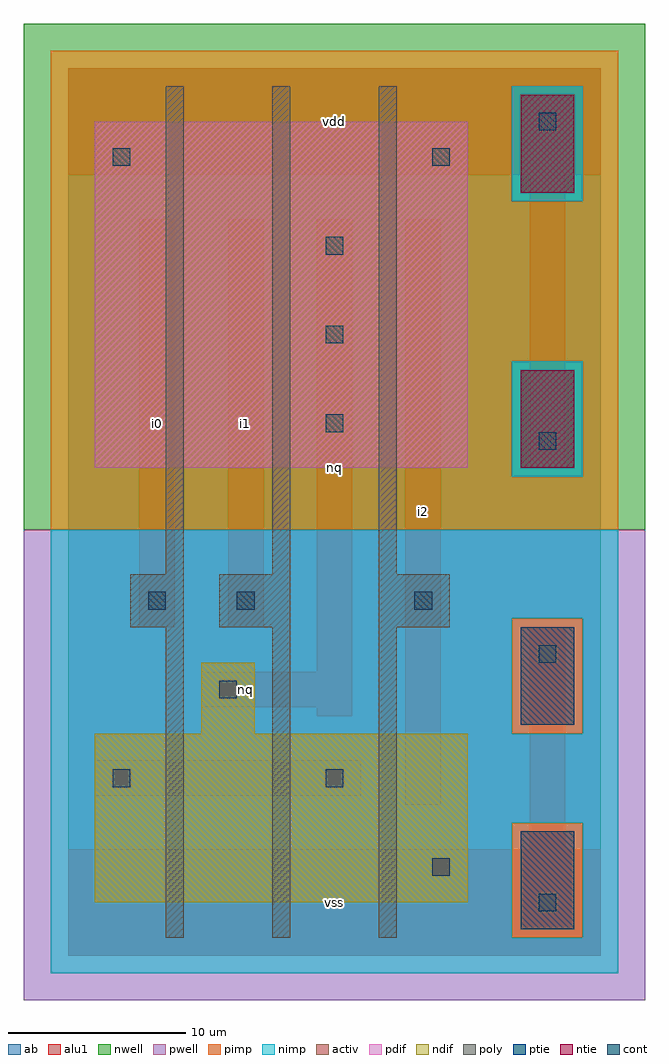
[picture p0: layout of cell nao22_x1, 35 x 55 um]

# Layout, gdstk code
import gdstk
lib = gdstk.Library(unit=1e-6, precision=1e-09)
def R(c, l, rs):  # rectangles x0, y0, x1, y1
    for r in rs: c.add(gdstk.rectangle(r[:2], r[2:], *l))
def A(c, l, x, y, w, h, nx, ny, dx, dy):  # array of equal rectangles
    R(c, l, [(x+i*dx, y+j*dy, x+i*dx+w, y+j*dy+h) for i in range(nx) for j in range(ny)])
ndif = (3, 0)
pdif = (4, 0)
ntie = (5, 0)
ptie = (6, 0)
cont = (25, 0)
pwell = (41, 0)
nwell = (42, 0)
activ = (43, 0)
pimp = (44, 0)
nimp = (45, 0)
poly = (46, 0)
alu1 = (49, 0)
ab = (63, 0)

nao22_x1 = lib.new_cell('nao22_x1')
R(nao22_x1, ndif, [(1.5,3,22.5,12.5), (7.5,12.5,10.5,16.5)])
R(nao22_x1, pdif, [(1.5,27.5,22.5,47)])
R(nao22_x1, ntie, [(25.5,27.5,28.5,33), (25.5,43,28.5,48.5)])
R(nao22_x1, ptie, [(25.5,1.5,28.5,7), (25.5,13,28.5,18.5)])
A(nao22_x1, cont, 14.5, 29.5, 1, 1, 1, 3, 0, 5)
R(nao22_x1, cont, [(26.5,2.5,27.5,3.5), (20.5,4.5,21.5,5.5), (2.5,9.5,3.5,10.5), (14.5,9.5,15.5,10.5), (8.5,14.5,9.5,15.5), (26.5,16.5,27.5,17.5), (4.5,19.5,5.5,20.5), (9.5,19.5,10.5,20.5), (19.5,19.5,20.5,20.5), (26.5,28.5,27.5,29.5), (2.5,44.5,3.5,45.5), (20.5,44.5,21.5,45.5), (26.5,46.5,27.5,47.5)])
R(nao22_x1, pwell, [(-2.5,-2.5,32.5,24)])
R(nao22_x1, nwell, [(-2.5,24,32.5,52.5)])
R(nao22_x1, activ, [(25.5,1.5,28.5,7), (1.5,3,22.5,12.5), (7.5,12.5,10.5,16.5), (25.5,13,28.5,18.5), (1.5,27.5,22.5,47), (25.5,27.5,28.5,33), (25.5,43,28.5,48.5)])
R(nao22_x1, pimp, [(25,1,29,7.5), (25,12.5,29,19), (-1,24,31,27), (-1,27,25,33.5), (29,27,31,33.5), (-1,33.5,31,42.5), (-1,42.5,25,49), (29,42.5,31,49), (-1,49,31,51)])
R(nao22_x1, nimp, [(-1,-1,31,1), (-1,1,25,7.5), (29,1,31,7.5), (-1,7.5,31,12.5), (-1,12.5,25,19), (29,12.5,31,19), (-1,19,31,24), (25,27,29,33.5), (25,42.5,29,49)])
A(nao22_x1, poly, 5.5, 1, 1, 17.5, 3, 1, 6, 0)
A(nao22_x1, poly, 5.5, 21.5, 1, 27.5, 3, 1, 6, 0)
R(nao22_x1, poly, [(3.5,18.5,6.5,21.5), (8.5,18.5,12.5,21.5), (17.5,18.5,21.5,21.5)])
R(nao22_x1, alu1, [(0,0,30,6), (0,0,30,6), (26,6,28,18.5), (26,6,28,18.5), (19,8.5,21,41.5), (19,8.5,21,41.5), (1.5,9,16.5,11), (1.5,9,16.5,11), (14,13.5,16,14), (14,13.5,16,14), (7.5,14,16,16), (7.5,14,16,16), (14,16,16,41.5), (14,16,16,41.5), (4,18.5,6,41.5), (4,18.5,6,41.5), (9,18.5,11,41.5), (9,18.5,11,41.5), (26,27.5,28,44), (26,27.5,28,44), (0,44,30,50), (0,44,30,50)])
R(nao22_x1, ab, [(0,0,30,50)])
nao22_x1.add(gdstk.Label('i0', (5,30), layer=49, texttype=0))
nao22_x1.add(gdstk.Label('nq', (10,15), layer=49, texttype=0))
nao22_x1.add(gdstk.Label('i1', (10,30), layer=49, texttype=0))
nao22_x1.add(gdstk.Label('vss', (15,3), layer=49, texttype=0))
nao22_x1.add(gdstk.Label('i2', (20,25), layer=49, texttype=0))
nao22_x1.add(gdstk.Label('nq', (15,27.5), layer=49, texttype=0))
nao22_x1.add(gdstk.Label('vdd', (15,47), layer=49, texttype=0))

lib.write_gds('nao22_x1.gds')
